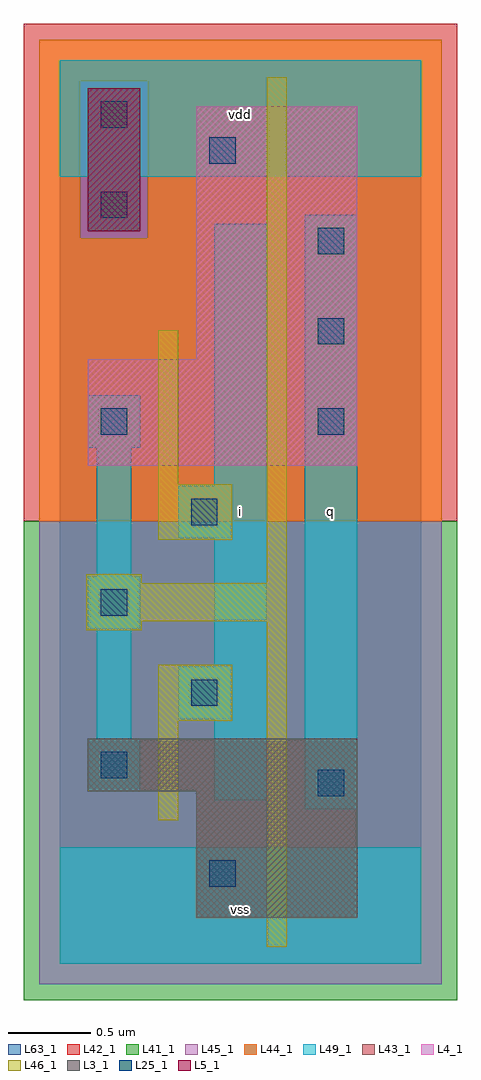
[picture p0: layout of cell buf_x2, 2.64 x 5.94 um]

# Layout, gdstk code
import gdstk
lib = gdstk.Library(unit=1e-6, precision=1e-09)
def R(c, l, rs):  # rectangles x0, y0, x1, y1
    for r in rs: c.add(gdstk.rectangle(r[:2], r[2:], *l))
def A(c, l, x, y, w, h, nx, ny, dx, dy):  # array of equal rectangles
    R(c, l, [(x+i*dx, y+j*dy, x+i*dx+w, y+j*dy+h) for i in range(nx) for j in range(ny)])
L3_1 = (3, 1)
L4_1 = (4, 1)
L5_1 = (5, 1)
L25_1 = (25, 1)
L41_1 = (41, 1)
L42_1 = (42, 1)
L43_1 = (43, 1)
L44_1 = (44, 1)
L45_1 = (45, 1)
L46_1 = (46, 1)
L49_1 = (49, 1)
L63_1 = (63, 1)

buf_x2 = lib.new_cell('buf_x2')
R(buf_x2, L3_1, [(0.83,0.28,1.81,1.05), (0.17,1.05,1.81,1.37)])
R(buf_x2, L4_1, [(0.17,3.03,1.81,3.68), (0.83,3.68,1.81,5.22)])
R(buf_x2, L5_1, [(0.17,4.46,0.49,5.33)])
A(buf_x2, L25_1, 1.57, 3.22, 0.16, 0.16, 1, 3, 0, 0.55)
R(buf_x2, L25_1, [(0.91,0.47,1.07,0.63), (1.57,1.02,1.73,1.18), (0.25,1.13,0.41,1.29), (0.8,1.57,0.96,1.73), (0.25,2.12,0.41,2.28), (0.8,2.67,0.96,2.83), (0.25,3.22,0.41,3.38), (0.25,4.54,0.41,4.7), (0.91,4.87,1.07,5.03), (0.25,5.09,0.41,5.25)])
R(buf_x2, L41_1, [(-0.22,-0.22,2.42,2.695)])
R(buf_x2, L42_1, [(-0.22,2.695,2.42,5.72)])
R(buf_x2, L43_1, [(0.83,0.28,1.81,1.05), (0.17,1.05,1.81,1.37), (0.17,3.03,1.81,3.68), (0.83,3.68,1.81,5.22), (0.17,4.46,0.49,5.33)])
R(buf_x2, L44_1, [(-0.125,2.695,2.325,4.415), (-0.125,4.415,0.125,5.375), (0.535,4.415,2.325,5.375), (-0.125,5.375,2.325,5.625)])
R(buf_x2, L45_1, [(-0.125,-0.125,2.325,2.695), (0.125,4.415,0.535,5.375)])
R(buf_x2, L46_1, [(1.26,0.105,1.38,2.085), (0.6,0.875,0.72,1.48), (0.6,1.48,1.05,1.82), (0.16,2.03,0.5,2.085), (0.16,2.085,1.38,2.315), (0.16,2.315,0.5,2.37), (1.26,2.315,1.38,5.395), (0.6,2.58,1.05,2.92), (0.6,2.92,0.72,3.855)])
R(buf_x2, L49_1, [(0,0,2.2,0.71), (1.49,0.94,1.81,4.56), (0.94,0.995,1.26,1.49), (0.17,1.05,0.49,1.37), (0.225,1.37,0.435,2.04), (0.72,1.49,1.26,1.81), (0.94,1.81,1.26,2.59), (0.17,2.04,0.49,2.36), (0.225,2.36,0.435,3.14), (0.72,2.59,1.26,2.91), (0.94,2.91,1.26,4.505), (0.17,3.14,0.49,3.46), (0.17,4.46,0.49,4.79), (0,4.79,2.2,5.5)])
R(buf_x2, L63_1, [(0,0,2.2,5.5)])
buf_x2.add(gdstk.Label('vss', (1.1,0.33), layer=49, texttype=1))
buf_x2.add(gdstk.Label('vss', (1.1,0.33), layer=49, texttype=1))
buf_x2.add(gdstk.Label('q', (1.65,2.75), layer=49, texttype=1))
buf_x2.add(gdstk.Label('q', (1.65,2.75), layer=49, texttype=1))
buf_x2.add(gdstk.Label('i', (1.1,2.75), layer=49, texttype=1))
buf_x2.add(gdstk.Label('i', (1.1,2.75), layer=49, texttype=1))
buf_x2.add(gdstk.Label('vdd', (1.1,5.17), layer=49, texttype=1))
buf_x2.add(gdstk.Label('vdd', (1.1,5.17), layer=49, texttype=1))

lib.write_gds('buf_x2.gds')
